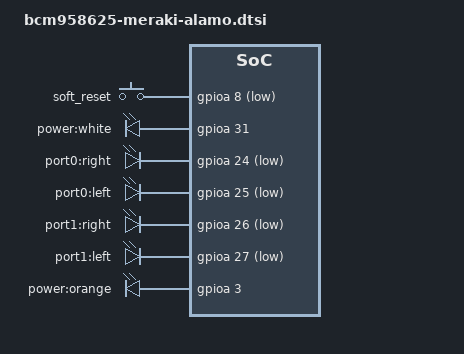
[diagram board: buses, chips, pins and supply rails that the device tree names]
// SPDX-License-Identifier: GPL-2.0-or-later OR MIT
/*
 * Device Tree Bindings for Cisco Meraki MX65 series (Alamo).
 *
 * Copyright (C) 2020-2021 Matthew Hagan <mnhagan88@gmail.com>
 */

#include "bcm958625-meraki-mx6x-common.dtsi"

/ {
    gpio-buttons {
            compatible = "gpio-keys-polled";
            autorepeat;
            poll-interval = <20>;
            button@1 {
                    label = "soft_reset";
                    linux,code = <0x198>;     // EV_RESTART
                    linux,input-type = <1>;   // EV_KEY
                    debounce-interval = <60>;
                    gpios = <&gpioa 8 1>;
            };
    };

	leds {
                compatible = "gpio-leds";
                white {
                        label = "power:white";
                        gpios = <&gpioa 31 0>;
                        default-state = "off";
                };

                port0right {
                        label = "port0:right";
                        gpios = <&gpioa 24 1>;
                        default-state = "off";
                };
                port0left {
                        label = "port0:left";
                        gpios = <&gpioa 25 1>;
                        default-state = "off";
                };
                port1right {
                        label = "port1:right";
                        gpios = <&gpioa 26 1>;
                        default-state = "off";
                };
                port1left {
                        label = "port1:left";
                        gpios = <&gpioa 27 1>;
                        default-state = "off";
                };
        };
		
		power_led {
                compatible = "gpio-leds";
                orange {
                        label = "power:orange";
                        gpios = <&gpioa 3 0>;
                };
        };
};


